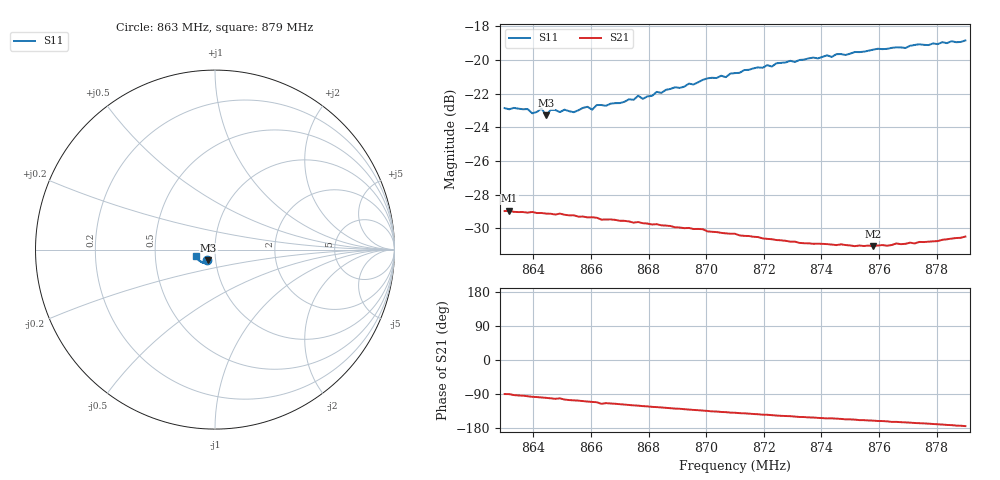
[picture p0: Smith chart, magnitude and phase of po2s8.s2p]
# HZ S RI R 50
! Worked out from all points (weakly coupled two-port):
!   101 points, 863 MHz to 879 MHz, reference 50 ohm
!   highest |S21| = -28.96 dB at 863.16 MHz (marker M1); lowest = -31.1 dB at 875.8 MHz (marker M2)
!   lowest |S11| = -23.3 dB at 864.44 MHz (marker M3), VSWR 1.15, Z = 46.2 - j5.38 ohm
!   |S11| at or under -10 dB: start of sweep to end of sweep
!   S12 and S22 are empty: the file has one direction only
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8.63e8  -0.0419 -0.0586  8.9e-05 -0.0356  0 0  0 0
8.6316e8  -0.0403 -0.0589  7e-06 -0.0357  0 0  0 0
8.638e8  -0.0405 -0.059  -0.00341 -0.035  0 0  0 0
8.6396e8  -0.0385 -0.0579  -0.00442 -0.0351  0 0  0 0
8.6428e8  -0.0384 -0.0607  -0.00543 -0.0347  0 0  0 0
8.6444e8  -0.0366 -0.0579  -0.00602 -0.0345  0 0  0 0
8.646e8  -0.0378 -0.0603  -0.00672 -0.0343  0 0  0 0
8.654e8  -0.0364 -0.0598  -0.00977 -0.0332  0 0  0 0
8.6572e8  -0.0361 -0.0624  -0.0109 -0.0325  0 0  0 0
8.6604e8  -0.0355 -0.0617  -0.012 -0.0319  0 0  0 0
8.662e8  -0.0377 -0.0631  -0.0125 -0.0316  0 0  0 0
8.67e8  -0.0366 -0.0649  -0.0149 -0.0298  0 0  0 0
8.6748e8  -0.0369 -0.0666  -0.0163 -0.0285  0 0  0 0
8.6764e8  -0.0384 -0.0683  -0.0168 -0.0284  0 0  0 0
8.678e8  -0.0382 -0.0665  -0.0172 -0.0279  0 0  0 0
8.6828e8  -0.0402 -0.0697  -0.0184 -0.0269  0 0  0 0
8.6844e8  -0.04 -0.0692  -0.0186 -0.0264  0 0  0 0
8.71e8  -0.0536 -0.0741  -0.0231 -0.0199  0 0  0 0
8.7372e8  -0.0732 -0.0706  -0.025 -0.0135  0 0  0 0
8.758e8  -0.0886 -0.0607  -0.0263 -0.00956  0 0  0 0
8.7644e8  -0.0928 -0.0566  -0.027 -0.00814  0 0  0 0
8.79e8  -0.1084 -0.0364  -0.0298 -0.00288  0 0  0 0
